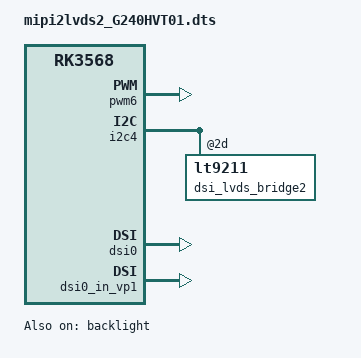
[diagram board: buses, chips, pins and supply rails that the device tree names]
/dts-v1/;
/plugin/;
/ {
	compatible = "rockchip,rk3568";

	fragment@0 {
		target = <&pwm6>;
		__overlay__ {
			status = "okay";
		};
	};
	fragment@1 {
		target = <&backlight>;
		__overlay__ {
			panel-type = "LVDS";
			status = "okay";
            enable_delay = <10>;
            minimal-brightness-level = <26>;
		};
	};
	fragment@2 {
		target = <&i2c4>;
		__overlay__ {
			status = "okay";
			dsi_lvds_bridge2: lt9211@2d {
				status = "okay";
				dsi,lanes = <4>;
				lvds-format = <2>;//VESA
				lvds-bpp = <24>;
				dual-link;
				de-mode;
				enable-overlay;
				//test-pattern;
			};
		};
	};
	fragment@3 {
		target = <&dsi0>;
		__overlay__ {
			status = "okay";
			dsi0_panel: panel@0 {
				backlight = <&backlight>;

				width-mm = <533>;
				height-mm = <299>;
				bpc=<8>;
				bus-format = <0x100a>;//<MEDIA_BUS_FMT_RGB888_1X24>;
				dsi,flags = <0xA03>;//101000000011
				dsi,format = <0>;//MIPI_DSI_FMT_RGB888:
				dsi,lanes = <4>;

                		t1=<30>;//VCC on to start lvds signal
                		t2=<250>;//t2-t6: LVDS signal(start) to turn Backlihgt on or Backlight sys Enable
                		t3=<160>;//Backlight sys Disable or Backlihgt(off) to stop lvds signal
                		t4=<1>;//LVDS signal to turn VCC off
                		t5=<1000>;//VCC off to turn VCC on
                		t6=<0>;//Backlight sys Enable to turn Backlight on
                		t7=<0>;//Backlight off to Backlight sys Disable
                		//t1 -> t2-t6 -> t6 -> t3 -> t7 -> t4 -> t5

				disp_timings0: display-timings {
					native-mode = <&dsi0_timing0>;

					dsi0_timing0: timing0  {
                        			clock-frequency = <144000000>;
                        			hactive = <1920>;
                        			vactive = <1080>;
                        			hfront-porch = <80>;
                        			hback-porch = <80>;
                        			hsync-len = <40>;
                        			vfront-porch = <15>;
                        			vsync-len = <10>;
                        			vback-porch = <15>;
                        			hsync-active = <0>;
                        			vsync-active = <0>;
                        			de-active = <1>;
                       		 		pixelclk-active = <0>;
					};
				};
			};
		};
	};
	fragment@4 {
		target = <&edp>;
		__overlay__ {
			status = "disabled";
		};
	};
	fragment@5 {
		target = <&edp_phy>;
		__overlay__ {
			status = "disabled";
		};
	};
	fragment@6 {
		target = <&panel_edp>;
		__overlay__ {
			status = "disabled";
		};
	};
	fragment@7 {
		target = <&dsi0>;
		__overlay__ {
			status = "okay";
		};
	};
	fragment@8 {
		target = <&dsi0_in_vp1>;
		__overlay__ {
			status = "okay";
		};
	};
	fragment@9 {
		target = <&edp_in_vp1>;
		__overlay__ {
			status = "disabled";
		};
	};
};
